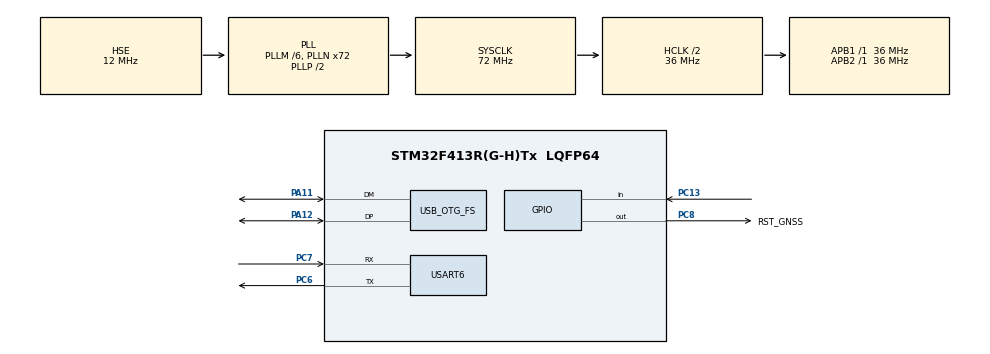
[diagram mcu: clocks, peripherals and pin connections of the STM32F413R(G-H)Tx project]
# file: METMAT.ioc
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Mcu.Family=STM32F4
Mcu.Name=STM32F413R(G-H)Tx
Mcu.Package=LQFP64
NVIC.OTG_FS_IRQn=true\:0\:0\:false\:false\:true\:false\:true\:true
NVIC.PriorityGroup=NVIC_PRIORITYGROUP_4
NVIC.USART6_IRQn=true\:0\:0\:false\:false\:true\:true\:true\:true
PA11.Mode=Device_Only
PA11.Signal=USB_OTG_FS_DM
PA12.Mode=Device_Only
PA12.Signal=USB_OTG_FS_DP
PA13.Mode=Trace_Asynchronous_SW
PA13.Signal=SYS_JTMS-SWDIO
PA14.Mode=Trace_Asynchronous_SW
PA14.Signal=SYS_JTCK-SWCLK
PB3.Mode=Trace_Asynchronous_SW
PB3.Signal=SYS_JTDO-SWO
PC13.Signal=GPIO_Input
PC6.Mode=Asynchronous
PC6.Signal=USART6_TX
PC7.Mode=Asynchronous
PC7.Signal=USART6_RX
PC8.GPIO_Label=RST_GNSS
PC8.PinState=GPIO_PIN_RESET
PC8.Signal=GPIO_Output
PH0\ -\ OSC_IN.Mode=HSE-External-Oscillator
PH0\ -\ OSC_IN.Signal=RCC_OSC_IN
PH1\ -\ OSC_OUT.Mode=HSE-External-Oscillator
PH1\ -\ OSC_OUT.Signal=RCC_OSC_OUT
ProjectManager.HeapSize=0x200
ProjectManager.StackSize=0x400
ProjectManager.TargetToolchain=MDK-ARM V5.32
RCC.AHBCLKDivider=RCC_SYSCLK_DIV2
RCC.AHBFreq_Value=36000000
RCC.APB1Freq_Value=36000000
RCC.APB1TimFreq_Value=36000000
RCC.APB2Freq_Value=36000000
RCC.APB2TimFreq_Value=36000000
RCC.CortexFreq_Value=36000000
RCC.HCLKFreq_Value=36000000
RCC.HSE_VALUE=12000000
RCC.PLLM=6
RCC.PLLN=72
RCC.PLLQ=3
RCC.PLLSourceVirtual=RCC_PLLSOURCE_HSE
RCC.SYSCLKFreq_VALUE=72000000
RCC.SYSCLKSource=RCC_SYSCLKSOURCE_PLLCLK
RCC.USBFreq_Value=48000000
RCC.VCOOutputFreq_Value=144000000
USART6.VirtualMode=VM_ASYNC
USB_DEVICE.CLASS_NAME_FS=CDC
USB_DEVICE.VirtualMode=Cdc
USB_DEVICE.VirtualModeFS=Cdc_FS
USB_OTG_FS.VirtualMode=Device_Only
VP_USB_DEVICE_VS_USB_DEVICE_CDC_FS.Mode=CDC_FS
board=custom

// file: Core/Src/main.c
/* USER CODE BEGIN Header */
/**
 ******************************************************************************
 * @file           : main.c
 * @brief          : Main program body
 ******************************************************************************
 * @attention
 *
 * <h2><center>&copy; Copyright (c) 2023 STMicroelectronics.
 * All rights reserved.</center></h2>
 *
 * This software component is licensed by ST under Ultimate Liberty license
 * SLA0044, the "License"; You may not use this file except in compliance with
 * the License. You may obtain a copy of the License at:
 *                             www.st.com/SLA0044
 *
 ******************************************************************************
 */
/* USER CODE END Header */
#include "main.h"
#include "spi.h"
#include "usart.h"
#include "usb_device.h"
#include "gpio.h"

/* USER CODE BEGIN Includes */
#include "usbd_cdc_if.h"
#include "parserNMEA.h"
#include "minmea.h"
/* USER CODE END Includes */

/* USER CODE BEGIN PV */
uint8_t str[1];
uint8_t dataReceived = 0;    // ������� ������ ��������
uint8_t dataTransmitted = 1; // ������� ������ ��������
uint8_t *Buf;

uint8_t flagBoard = 0; // ??????? ?????? ????????

// uart
#define SIZE_MASSIVE_FOR_NMEA 128
uint8_t RxData6[SIZE_MASSIVE_FOR_NMEA] = {0};
int indx = 0;

inter_t inter = {
    0,
};

struct minmea_sentence_zda frame_zda = {0};
struct minmea_sentence_gll frame_gll = {0};
uint8_t *massiveParser_ptr = NULL;

/* USER CODE END PV */

void SystemClock_Config(void);

int main(void)
{

  /* MCU Configuration--------------------------------------------------------*/

  /* Reset of all peripherals, Initializes the Flash interface and the Systick. */
  HAL_Init();

  /* Configure the system clock */
  SystemClock_Config();

  /* Initialize all configured peripherals */
  MX_GPIO_Init();
  MX_USB_DEVICE_Init();
  // MX_SPI1_Init();
  //  MX_USART3_UART_Init();
  // MX_UART4_Init();
  MX_USART6_UART_Init();
  /* USER CODE BEGIN 2 */
  //  HAL_GPIO_WritePin(GPIOC, GPIO_PIN_4, GPIO_PIN_RESET);
  memset(&RxData6, '$', SIZE_MASSIVE_FOR_NMEA);
  //	clearMassiveForNMEA(&huart6, &RxData6[0], SIZE_MASSIVE_FOR_NMEA);
  // HAL_UARTEx_ReceiveToIdle_IT(&huart3, RxData6, sizeof(RxData6));
  HAL_UARTEx_ReceiveToIdle_IT(&huart6, RxData6, sizeof(RxData6));

  /* USER CODE END 2 */

  /* Infinite loop */
  /* USER CODE BEGIN WHILE */
  while (1)
  {

    HAL_Delay(1);
    // if (flagBoard & INTERRUPT_USB_MASK)
    if (flagBoard == 1)
    {
      //          flagBoard &= 0xFE;
      flagBoard = 0;
      //      HAL_GPIO_TogglePin(GPIOC, GPIO_PIN_11);
      //   PIN_EN_TRANSMIT_UART4(1);
      //   // HAL_UART_Transmit(&huart4, &requestTemperature, 1, 100);
      //   HAL_UART_Transmit_IT(&huart4, &requestTemperature, 1);
      //   HAL_Delay(10);
      //   PIN_EN_TRANSMIT_UART4(0);
      //   // CDC_Transmit_FS(str, 1);
    }
    if (inter.GNSS_Inter)
    {
      inter.GNSS_Inter = 0;

      //    HAL_GPIO_TogglePin(GPIOC, GPIO_PIN_11);

//            uint8_t successData = readData((const uint8_t *)&RxData6);
//      	memset(&RxData6, '$', SIZE_MASSIVE_FOR_NMEA);

//      			HAL_UARTEx_ReceiveToIdle_IT(&huart6, RxData6, sizeof(RxData6));
    }
    //    HAL_Delay(500);
    //		HAL_UARTEx_ReceiveToIdle_IT(&huart6, RxData6, sizeof(RxData6));

    /* USER CODE END WHILE */

  }
}

void SystemClock_Config(void)
{
  RCC_OscInitTypeDef RCC_OscInitStruct = {0};
  RCC_ClkInitTypeDef RCC_ClkInitStruct = {0};

  /** Configure the main internal regulator output voltage
   */
  __HAL_RCC_PWR_CLK_ENABLE();
  __HAL_PWR_VOLTAGESCALING_CONFIG(PWR_REGULATOR_VOLTAGE_SCALE1);
  /** Initializes the RCC Oscillators according to the specified parameters
   * in the RCC_OscInitTypeDef structure.
   */
  RCC_OscInitStruct.OscillatorType = RCC_OSCILLATORTYPE_HSE;
  RCC_OscInitStruct.HSEState = RCC_HSE_ON;
  RCC_OscInitStruct.PLL.PLLState = RCC_PLL_ON;
  RCC_OscInitStruct.PLL.PLLSource = RCC_PLLSOURCE_HSE;
  RCC_OscInitStruct.PLL.PLLM = 6;
  RCC_OscInitStruct.PLL.PLLN = 72;
  RCC_OscInitStruct.PLL.PLLP = RCC_PLLP_DIV2;
  RCC_OscInitStruct.PLL.PLLQ = 3;
  RCC_OscInitStruct.PLL.PLLR = 2;
  if (HAL_RCC_OscConfig(&RCC_OscInitStruct) != HAL_OK)
  {
    Error_Handler();
  }
  /** Initializes the CPU, AHB and APB buses clocks
   */
  RCC_ClkInitStruct.ClockType = RCC_CLOCKTYPE_HCLK | RCC_CLOCKTYPE_SYSCLK | RCC_CLOCKTYPE_PCLK1 | RCC_CLOCKTYPE_PCLK2;
  RCC_ClkInitStruct.SYSCLKSource = RCC_SYSCLKSOURCE_PLLCLK;
  RCC_ClkInitStruct.AHBCLKDivider = RCC_SYSCLK_DIV2;
  RCC_ClkInitStruct.APB1CLKDivider = RCC_HCLK_DIV1;
  RCC_ClkInitStruct.APB2CLKDivider = RCC_HCLK_DIV1;

  if (HAL_RCC_ClockConfig(&RCC_ClkInitStruct, FLASH_LATENCY_1) != HAL_OK)
  {
    Error_Handler();
  }
}

/* USER CODE BEGIN 4 */

// void HAL_UART_RxIdleCallback(UART_HandleTypeDef *huart)
// {
//   // __HAL_UART_DISABLE_IT(huart, UART_IT_IDLE);

//   const float DS18B20_T_STEP_float = 0.0625;
//   // const uint16_t startWord = {0xFD55};
//   const uint8_t startWord8[2] = {0xFD, 0x55};
//   uint16_t exitTemperature[6] = {0};
//   HAL_GPIO_TogglePin(GPIOC, GPIO_PIN_11);
//   memcpy(&exitTemperature8[0], &startWord8[0], 2);
//   memcpy(&exitTemperature8[2], &receiveRingBuf[2], 10);
//   CDC_Transmit_FS(&exitTemperature8[0], sizeof(exitTemperature8));

//   __HAL_UART_CLEAR_IDLEFLAG(&huart4);
//   __HAL_UART_ENABLE_IT(&huart4, UART_IT_IDLE);
// }

void HAL_UARTEx_RxEventCallback(UART_HandleTypeDef *huart, uint16_t Size)
{
  indx = Size;
  if (huart->Instance == USART6) // check if the interrupt comes from
  {

    //    CDC_Transmit_FS(&RxData6[0], sizeof(RxData6));
//        inter.GNSS_Inter = 1;
    //    __HAL_UART_CLEAR_IDLEFLAG(&huart6);
    //    HAL_UARTEx_ReceiveToIdle_IT(&huart6, RxData6, sizeof(RxData6));
    //			HAL_UARTEx_ReceiveToIdle_IT(&huart6, RxData6, sizeof(RxData6));

    HAL_GPIO_TogglePin(GPIOC, GPIO_PIN_11);
//    __HAL_UART_CLEAR_IDLEFLAG(&huart6);

    uint8_t successData = readData((const uint8_t *)&RxData6);
//    memset(&RxData6, '$', SIZE_MASSIVE_FOR_NMEA);

    HAL_UARTEx_ReceiveToIdle_IT(&huart6, RxData6, sizeof(RxData6));
  }
}

/* USER CODE END 4 */

void Error_Handler(void)
{
  __disable_irq();
  while (1)
  {
  }
}

/************************ (C) COPYRIGHT STMicroelectronics *****END OF FILE****/
